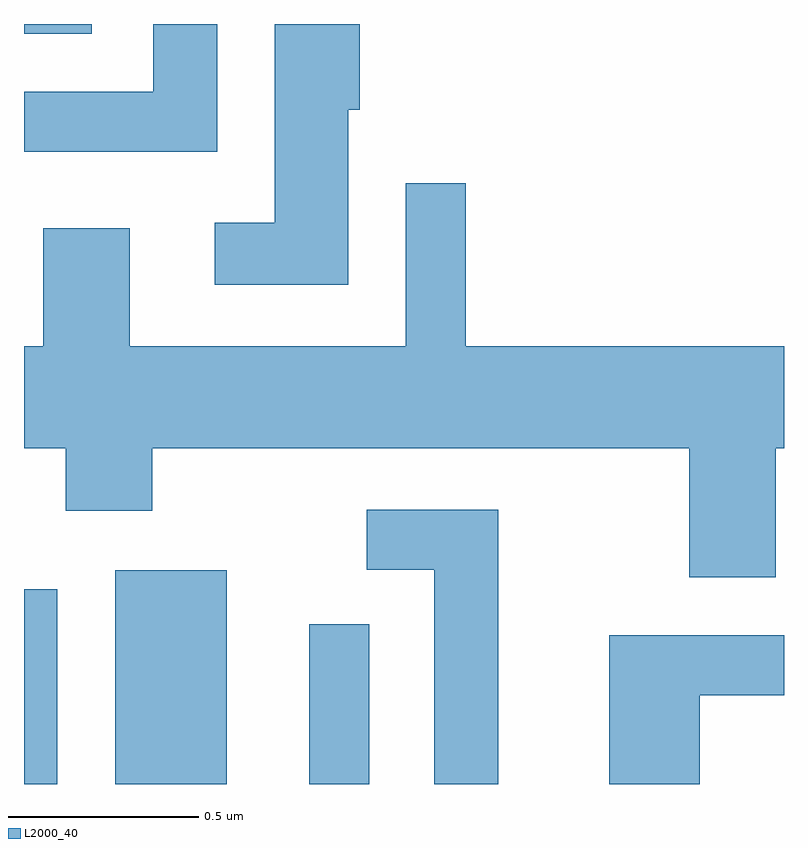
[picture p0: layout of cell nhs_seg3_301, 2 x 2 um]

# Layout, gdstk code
import gdstk
lib = gdstk.Library(unit=1e-6, precision=1e-09)
def R(c, l, rs):  # rectangles x0, y0, x1, y1
    for r in rs: c.add(gdstk.rectangle(r[:2], r[2:], *l))
def P(c, l, *ps):  # polygons
    for p in ps: c.add(gdstk.Polygon(p, *l))
L2000_40 = (2000, 40)

nhs_seg3_301 = lib.new_cell('nhs_seg3_301')
R(nhs_seg3_301, L2000_40, [(187.611,1142.892,187.699,1143.404), (187.851,1142.892,188.144,1143.454), (188.361,1142.892,188.519,1143.313), (187.611,1144.866,187.789,1144.892)])
P(nhs_seg3_301, L2000_40, [(188.464,1144.666),(188.494,1144.666),(188.494,1144.892),(188.271,1144.892),(188.271,1144.369),(188.113,1144.369),(188.113,1144.206),(188.464,1144.206)],
  [(188.119,1144.892),(187.951,1144.892),(187.951,1144.714),(187.611,1144.714),(187.611,1144.556),(188.119,1144.556)],
  [(189.589,1143.776),(189.611,1143.776),(189.611,1144.044),(188.774,1144.044),(188.774,1144.473),(188.616,1144.473),(188.616,1144.044),(187.889,1144.044),(187.889,1144.354),(187.661,1144.354),(187.661,1144.044),(187.611,1144.044),(187.611,1143.776),(187.721,1143.776),(187.721,1143.611),(187.949,1143.611),(187.949,1143.776),(189.361,1143.776),(189.361,1143.436),(189.589,1143.436)],
  [(188.859,1143.614),(188.513,1143.614),(188.513,1143.456),(188.691,1143.456),(188.691,1142.892),(188.859,1142.892)],
  [(189.389,1143.126),(189.611,1143.126),(189.611,1143.284),(189.151,1143.284),(189.151,1142.892),(189.389,1142.892)])

lib.write_gds('nhs_seg3_301.gds')
